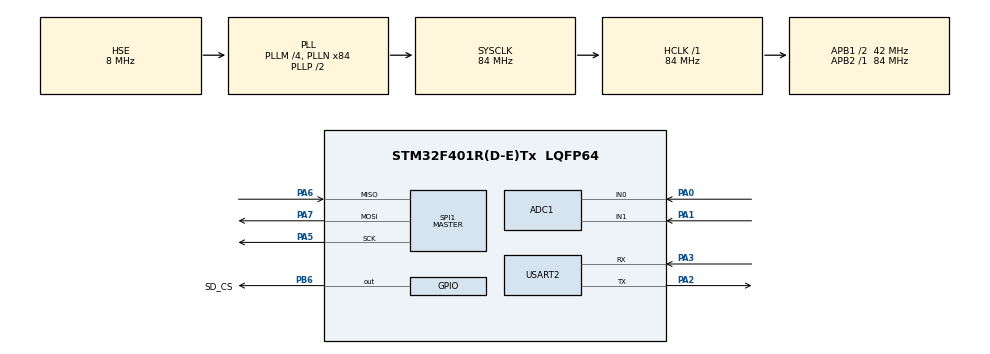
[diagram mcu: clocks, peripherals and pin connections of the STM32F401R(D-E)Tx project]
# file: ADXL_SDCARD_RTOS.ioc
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ADC1.Channel-2\#ChannelRegularConversion=ADC_CHANNEL_0
ADC1.ContinuousConvMode=DISABLE
ADC1.DMAContinuousRequests=DISABLE
ADC1.EOCSelection=ADC_EOC_SINGLE_CONV
ADC1.NbrOfConversion=1
ADC1.NbrOfConversionFlag=1
ADC1.Rank-2\#ChannelRegularConversion=1
ADC1.SamplingTime-2\#ChannelRegularConversion=ADC_SAMPLETIME_28CYCLES
ADC1.ScanConvMode=DISABLE
ADC1.master=1
FATFS._MAX_SS=4096
FATFS._USE_LFN=2
FREERTOS.Tasks01=defaultTask,0,128,StartDefaultTask,Default,NULL,Dynamic,NULL,NULL
FREERTOS.configUSE_NEWLIB_REENTRANT=1
Mcu.Family=STM32F4
Mcu.Name=STM32F401R(D-E)Tx
Mcu.Package=LQFP64
NVIC.PriorityGroup=NVIC_PRIORITYGROUP_4
NVIC.TIM5_IRQn=true\:15\:0\:false\:false\:true\:false\:false\:true\:true
NVIC.TimeBase=TIM5_IRQn
NVIC.TimeBaseIP=TIM5
PA0-WKUP.Signal=ADCx_IN0
PA1.Signal=ADCx_IN1
PA2.Mode=Asynchronous
PA2.Signal=USART2_TX
PA3.Mode=Asynchronous
PA3.Signal=USART2_RX
PA5.Mode=Full_Duplex_Master
PA5.Signal=SPI1_SCK
PA6.Mode=Full_Duplex_Master
PA6.Signal=SPI1_MISO
PA7.Mode=Full_Duplex_Master
PA7.Signal=SPI1_MOSI
PB6.GPIO_Label=SD_CS
PB6.GPIO_Speed=GPIO_SPEED_FREQ_MEDIUM
PB6.PinState=GPIO_PIN_SET
PB6.Signal=GPIO_Output
PH0\ -\ OSC_IN.Mode=HSE-External-Oscillator
PH0\ -\ OSC_IN.Signal=RCC_OSC_IN
PH1\ -\ OSC_OUT.Mode=HSE-External-Oscillator
PH1\ -\ OSC_OUT.Signal=RCC_OSC_OUT
ProjectManager.HeapSize=0x200
ProjectManager.StackSize=0x400
ProjectManager.TargetToolchain=STM32CubeIDE
RCC.48MHZClocksFreq_Value=24000000
RCC.AHBFreq_Value=84000000
RCC.APB1CLKDivider=RCC_HCLK_DIV2
RCC.APB1Freq_Value=42000000
RCC.APB1TimFreq_Value=84000000
RCC.APB2Freq_Value=84000000
RCC.APB2TimFreq_Value=84000000
RCC.CortexFreq_Value=84000000
RCC.HCLKFreq_Value=84000000
RCC.HSE_VALUE=8000000
RCC.HSI_VALUE=16000000
RCC.LSE_VALUE=32768
RCC.PLLM=4
RCC.PLLN=84
RCC.PLLQ=7
RCC.PLLSourceVirtual=RCC_PLLSOURCE_HSE
RCC.SYSCLKFreq_VALUE=84000000
RCC.SYSCLKSource=RCC_SYSCLKSOURCE_PLLCLK
RCC.VCOOutputFreq_Value=168000000
SH.ADCx_IN0.0=ADC1_IN0,IN0
SH.ADCx_IN1.0=ADC1_IN1,IN1
SPI1.BaudRatePrescaler=SPI_BAUDRATEPRESCALER_16
SPI1.Direction=SPI_DIRECTION_2LINES
SPI1.Mode=SPI_MODE_MASTER
SPI1.VirtualType=VM_MASTER
USART2.VirtualMode=VM_ASYNC
VP_FATFS_VS_Generic.Mode=User_defined
VP_FREERTOS_VS_CMSIS_V1.Mode=CMSIS_V1
VP_SYS_VS_tim5.Mode=TIM5
board=NUCLEO-F401RE

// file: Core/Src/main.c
/* USER CODE BEGIN Header */
/**
  ******************************************************************************
  * @file           : main.c
  * @brief          : Main program body
  ******************************************************************************
  * @attention
  *
  * Copyright (c) 2023 STMicroelectronics.
  * All rights reserved.
  *
  * This software is licensed under terms that can be found in the LICENSE file
  * in the root directory of this software component.
  * If no LICENSE file comes with this software, it is provided AS-IS.
  *
  ******************************************************************************
  */
/* USER CODE END Header */
#include "main.h"
#include "cmsis_os.h"
#include "fatfs.h"

/* USER CODE BEGIN Includes */
#include "fatfs.h"
#include "FreeRTOS.h"
#include "task.h"
#include "timers.h"
#include "queue.h"
#include "semphr.h"
#include "event_groups.h"
#include <stdarg.h>
#include "string.h"
#include <stdio.h>

/* USER CODE END Includes */

/* USER CODE BEGIN PTD */
#define SampleSize 2000
uint32_t adcVal[2];
uint32_t counter; // Counter for collected samples
double XanalogValues1;
double XanalogValues2;
FATFS fs;
FATFS *pfs;
FIL fil, fil2; // Declarations for both files
FRESULT fresult;
DWORD fre_clust;
uint32_t total, free_space;
UINT br,bw; 	//	file read/write count
char buffer[BufferSize];

/* USER CODE END PTD */

ADC_HandleTypeDef hadc1;

SPI_HandleTypeDef hspi1;

UART_HandleTypeDef huart2;

osThreadId defaultTaskHandle;

void SystemClock_Config(void);
static void MX_GPIO_Init(void);
static void MX_SPI1_Init(void);
static void MX_USART2_UART_Init(void);
static void MX_ADC1_Init(void);
void StartDefaultTask(void const * argument);

/* USER CODE BEGIN 0 */

void bufclear (void) {// clear buffer
		for (int i = 0; i < 1024; i++) {
			buffer[i]='\0';
		}
		}
QueueHandle_t ADC_Semaphore;

xTaskHandle ADC1_Task_Handler;
xTaskHandle ADC2_Task_Handler;
xTaskHandle SDCARD_Task_Handler;

void ADC1_TASK (void *argument)
{
	while (1)
	{
		if (xSemaphoreTake(ADC_Semaphore, portMAX_DELAY) == pdTRUE)
		{
			 counter1++;
			 if (counter1<=SampleSize)
			 {
				 ADC_ChannelConfTypeDef sConfig = {0};
				 int Sensor1Values;
				 uint8_t str[50]="";
				 sConfig.Channel = ADC_CHANNEL_0;
				  sConfig.Rank = 1;
				  sConfig.SamplingTime = ADC_SAMPLETIME_28CYCLES;
				  if (HAL_ADC_ConfigChannel(&hadc1, &sConfig) != HAL_OK)
				  {
				    Error_Handler();
				  }
				  HAL_ADC_Start(&hadc1);
				  HAL_ADC_PollForConversion(&hadc1, 100);
				  Sensor1Values=(int)HAL_ADC_GetValue(&hadc1);
				  HAL_ADC_Stop(&hadc1);
				  sprintf(str, "\r\nSensor1 Value[%lu] = %d\r\n",(unsigned long)counter1,Sensor1Values);
				  HAL_UART_Transmit(&huart2, (uint8_t*)str, strlen(str), 200);
			 }else{
				 break;
			 }
			xSemaphoreGive(ADC_Semaphore); // Release the semaphore
		}
		vTaskDelay(500);
	}
}
void ADC2_TASK (void *argument)
{
	while (1)
	{
		if (xSemaphoreTake(ADC_Semaphore, portMAX_DELAY) == pdTRUE)
		{
			counter2++;
			if (counter1<=SampleSize)
			{
				ADC_ChannelConfTypeDef sConfig = {0};
				int Sensor1Values;
				uint8_t str[50]="";
				sConfig.Channel = ADC_CHANNEL_1;
				sConfig.Rank = 1;
				sConfig.SamplingTime = ADC_SAMPLETIME_28CYCLES;
				if (HAL_ADC_ConfigChannel(&hadc1, &sConfig) != HAL_OK)
				{
					Error_Handler();
				}
				HAL_ADC_Start(&hadc1);
				HAL_ADC_PollForConversion(&hadc1, 100);
				Sensor2Values=(int)HAL_ADC_GetValue(&hadc1);
				HAL_ADC_Stop(&hadc1);
				sprintf(str, "\r\nSensor1 Value[%lu] = %d\r\n",(unsigned long)counter2,Sensor2Values);
				HAL_UART_Transmit(&huart2, (uint8_t*)str, strlen(str), 200);
			}else{
				break;
			}
			xSemaphoreGive(ADC_Semaphore); // Release the semaphore
		  }
		vTaskDelay(500);
	}
}
void SDCARD_TASK (void *argument)
{
	while(1)
	{
		if (xSemaphoreTake(ADC_Semaphore, portMAX_DELAY) == pdTRUE) {
		/* Mount SD Card  */
	fresult = f_mount(&fs, "", 0);
		if (fresult != FR_OK) {
	    send_uart("SD card MOUNT FAILED...\r\n");
		} else {
			send_uart("SD card MOUNTED...\r\n");
		}
	      // Open the file for writing (for sensor 1)
			fresult = f_open(&fil, "ADXL1_DATA.txt", FA_OPEN_ALWAYS | FA_WRITE | FA_READ);
	      if (fresult == FR_OK)
	      {
	        // Position the file pointer at the end of the file (append mode)
	        fresult = f_lseek(&fil, f_size(&fil));
	         snprintf(buffer, sizeof(buffer), "%.d\r\n", Sensor1Values); // 2 decimal places
	        // Write the string representation of the double value to the file
	        fresult = f_puts(buffer, &fil);
	        // Close the file when you're done writing
	        fresult = f_close(&fil);
	      }
	      // Open the file for writing (for sensor 2)
	    	fresult = f_open(&fil2, "ADXL2_DATA.txt", FA_OPEN_ALWAYS | FA_WRITE | FA_READ);
	    	   if (fresult == FR_OK)
	    	   {
	    	   // Position the file pointer at the end of the file (append mode)
	    		fresult = f_lseek(&fil2, f_size(&fil2));
	    	    snprintf(buffer, sizeof(buffer), "%.2f\r\n", XanalogValues2); // 2 decimal places
	    	   // Write the string representation of the double value to the file
	    	    fresult = f_puts(buffer, &fil2);
	    	   // Close the file when you're done writing
	    	    fresult = f_close(&fil2);
	    	   }
	            xSemaphoreGive(ADC_Semaphore);
	        }
	    	   vTaskDelay(500);
	}
}

/* USER CODE END 0 */

int main(void)
{
  /* USER CODE BEGIN 1 */
	  ADC_Semaphore = xSemaphoreCreateBinary();
  /* USER CODE END 1 */

  /* MCU Configuration--------------------------------------------------------*/

  /* Reset of all peripherals, Initializes the Flash interface and the Systick. */
  HAL_Init();

  /* Configure the system clock */
  SystemClock_Config();

  /* Initialize all configured peripherals */
  MX_GPIO_Init();
  MX_SPI1_Init();
  MX_USART2_UART_Init();
  MX_FATFS_Init();
  MX_ADC1_Init();
  /* USER CODE BEGIN 2 */

  fresult = f_mount(&fs, "", 1); // 1 = mount with format
  if (fresult == FR_OK) {
      send_uart("SD card FORMATTED and MOUNTED...\r\n");

      // Open the file for writing (for sensor 1)
      fresult = f_open(&fil, "ADXL1_DATA.txt", FA_OPEN_ALWAYS | FA_WRITE | FA_READ);
      if (fresult == FR_OK) {
          send_uart("ADXL1.txt has been created!\r\n");
          f_close(&fil);
      } else {
          send_uart("Error opening ADXL1_DATA.txt...\r\n");
      }

      // Open the file for writing (for sensor 2)
      fresult = f_open(&fil2, "ADXL2_DATA.txt", FA_OPEN_ALWAYS | FA_WRITE | FA_READ);
      if (fresult == FR_OK) {
          send_uart("ADXL2.txt has been created!\r\n");
          f_close(&fil2);
      } else {
          send_uart("Error opening ADXL2_DATA.txt...\r\n");
      }
  } else {
      send_uart("SD card FORMAT and MOUNT FAILED...\r\n");
  }
  // Unmount the SD card
  fresult = f_mount(NULL, "", 0);
  if (fresult == FR_OK) {
      send_uart("SD card UNMOUNTED...\r\n");
  } else {
      send_uart("Error unmounting SD card...\r\n");
  }

  xTaskCreate(ADC1_TASK, "ADC1", 128, NULL, 1, &ADC1_Task_Handler);
  xTaskCreate(ADC2_TASK, "ADC2", 128, NULL, 2, &ADC2_Task_Handler);
  xTaskCreate(SDCARD_TASK, "SDCARD", 128, NULL, 3, &SDCARD_Task_Handler);

   vTaskStartScheduler();
  /* USER CODE END 2 */

  /* Create the thread(s) */
  /* definition and creation of defaultTask */
  osThreadDef(defaultTask, StartDefaultTask, osPriorityNormal, 0, 128);
  defaultTaskHandle = osThreadCreate(osThread(defaultTask), NULL);

  /* Start scheduler */
  osKernelStart();

  /* We should never get here as control is now taken by the scheduler */
  /* Infinite loop */
  while (1)
  {

  }
}

void SystemClock_Config(void)
{
  RCC_OscInitTypeDef RCC_OscInitStruct = {0};
  RCC_ClkInitTypeDef RCC_ClkInitStruct = {0};

  /** Configure the main internal regulator output voltage
  */
  __HAL_RCC_PWR_CLK_ENABLE();
  __HAL_PWR_VOLTAGESCALING_CONFIG(PWR_REGULATOR_VOLTAGE_SCALE2);

  /** Initializes the RCC Oscillators according to the specified parameters
  * in the RCC_OscInitTypeDef structure.
  */
  RCC_OscInitStruct.OscillatorType = RCC_OSCILLATORTYPE_HSE;
  RCC_OscInitStruct.HSEState = RCC_HSE_ON;
  RCC_OscInitStruct.PLL.PLLState = RCC_PLL_ON;
  RCC_OscInitStruct.PLL.PLLSource = RCC_PLLSOURCE_HSE;
  RCC_OscInitStruct.PLL.PLLM = 4;
  RCC_OscInitStruct.PLL.PLLN = 84;
  RCC_OscInitStruct.PLL.PLLP = RCC_PLLP_DIV2;
  RCC_OscInitStruct.PLL.PLLQ = 7;
  if (HAL_RCC_OscConfig(&RCC_OscInitStruct) != HAL_OK)
  {
    Error_Handler();
  }

  /** Initializes the CPU, AHB and APB buses clocks
  */
  RCC_ClkInitStruct.ClockType = RCC_CLOCKTYPE_HCLK|RCC_CLOCKTYPE_SYSCLK
                              |RCC_CLOCKTYPE_PCLK1|RCC_CLOCKTYPE_PCLK2;
  RCC_ClkInitStruct.SYSCLKSource = RCC_SYSCLKSOURCE_PLLCLK;
  RCC_ClkInitStruct.AHBCLKDivider = RCC_SYSCLK_DIV1;
  RCC_ClkInitStruct.APB1CLKDivider = RCC_HCLK_DIV2;
  RCC_ClkInitStruct.APB2CLKDivider = RCC_HCLK_DIV1;

  if (HAL_RCC_ClockConfig(&RCC_ClkInitStruct, FLASH_LATENCY_2) != HAL_OK)
  {
    Error_Handler();
  }
}

static void MX_ADC1_Init(void)
{

  ADC_ChannelConfTypeDef sConfig = {0};

  /** Configure the global features of the ADC (Clock, Resolution, Data Alignment and number of conversion)
  */
  hadc1.Instance = ADC1;
  hadc1.Init.ClockPrescaler = ADC_CLOCK_SYNC_PCLK_DIV4;
  hadc1.Init.Resolution = ADC_RESOLUTION_12B;
  hadc1.Init.ScanConvMode = DISABLE;
  hadc1.Init.ContinuousConvMode = DISABLE;
  hadc1.Init.DiscontinuousConvMode = DISABLE;
  hadc1.Init.ExternalTrigConvEdge = ADC_EXTERNALTRIGCONVEDGE_NONE;
  hadc1.Init.ExternalTrigConv = ADC_SOFTWARE_START;
  hadc1.Init.DataAlign = ADC_DATAALIGN_RIGHT;
  hadc1.Init.NbrOfConversion = 1;
  hadc1.Init.DMAContinuousRequests = DISABLE;
  hadc1.Init.EOCSelection = ADC_EOC_SINGLE_CONV;
  if (HAL_ADC_Init(&hadc1) != HAL_OK)
  {
    Error_Handler();
  }

  /** Configure for the selected ADC regular channel its corresponding rank in the sequencer and its sample time.
  */
  sConfig.Channel = ADC_CHANNEL_0;
  sConfig.Rank = 1;
  sConfig.SamplingTime = ADC_SAMPLETIME_28CYCLES;
  if (HAL_ADC_ConfigChannel(&hadc1, &sConfig) != HAL_OK)
  {
    Error_Handler();
  }

}

static void MX_SPI1_Init(void)
{

  /* SPI1 parameter configuration*/
  hspi1.Instance = SPI1;
  hspi1.Init.Mode = SPI_MODE_MASTER;
  hspi1.Init.Direction = SPI_DIRECTION_2LINES;
  hspi1.Init.DataSize = SPI_DATASIZE_8BIT;
  hspi1.Init.CLKPolarity = SPI_POLARITY_LOW;
  hspi1.Init.CLKPhase = SPI_PHASE_1EDGE;
  hspi1.Init.NSS = SPI_NSS_SOFT;
  hspi1.Init.BaudRatePrescaler = SPI_BAUDRATEPRESCALER_16;
  hspi1.Init.FirstBit = SPI_FIRSTBIT_MSB;
  hspi1.Init.TIMode = SPI_TIMODE_DISABLE;
  hspi1.Init.CRCCalculation = SPI_CRCCALCULATION_DISABLE;
  hspi1.Init.CRCPolynomial = 10;
  if (HAL_SPI_Init(&hspi1) != HAL_OK)
  {
    Error_Handler();
  }

}

static void MX_USART2_UART_Init(void)
{

  huart2.Instance = USART2;
  huart2.Init.BaudRate = 115200;
  huart2.Init.WordLength = UART_WORDLENGTH_8B;
  huart2.Init.StopBits = UART_STOPBITS_1;
  huart2.Init.Parity = UART_PARITY_NONE;
  huart2.Init.Mode = UART_MODE_TX_RX;
  huart2.Init.HwFlowCtl = UART_HWCONTROL_NONE;
  huart2.Init.OverSampling = UART_OVERSAMPLING_16;
  if (HAL_UART_Init(&huart2) != HAL_OK)
  {
    Error_Handler();
  }

}

static void MX_GPIO_Init(void)
{
  GPIO_InitTypeDef GPIO_InitStruct = {0};

  /* GPIO Ports Clock Enable */
  __HAL_RCC_GPIOH_CLK_ENABLE();
  __HAL_RCC_GPIOA_CLK_ENABLE();
  __HAL_RCC_GPIOB_CLK_ENABLE();

  /*Configure GPIO pin Output Level */
  HAL_GPIO_WritePin(SD_CS_GPIO_Port, SD_CS_Pin, GPIO_PIN_SET);

  /*Configure GPIO pin : SD_CS_Pin */
  GPIO_InitStruct.Pin = SD_CS_Pin;
  GPIO_InitStruct.Mode = GPIO_MODE_OUTPUT_PP;
  GPIO_InitStruct.Pull = GPIO_NOPULL;
  GPIO_InitStruct.Speed = GPIO_SPEED_FREQ_MEDIUM;
  HAL_GPIO_Init(SD_CS_GPIO_Port, &GPIO_InitStruct);

}

void StartDefaultTask(void const * argument)
{
  for(;;)
  {
    osDelay(1);
  }
}

void HAL_TIM_PeriodElapsedCallback(TIM_HandleTypeDef *htim)
{
  if (htim->Instance == TIM5) {
    HAL_IncTick();
  }
}

void Error_Handler(void)
{
  __disable_irq();
  while (1)
  {
  }
}
